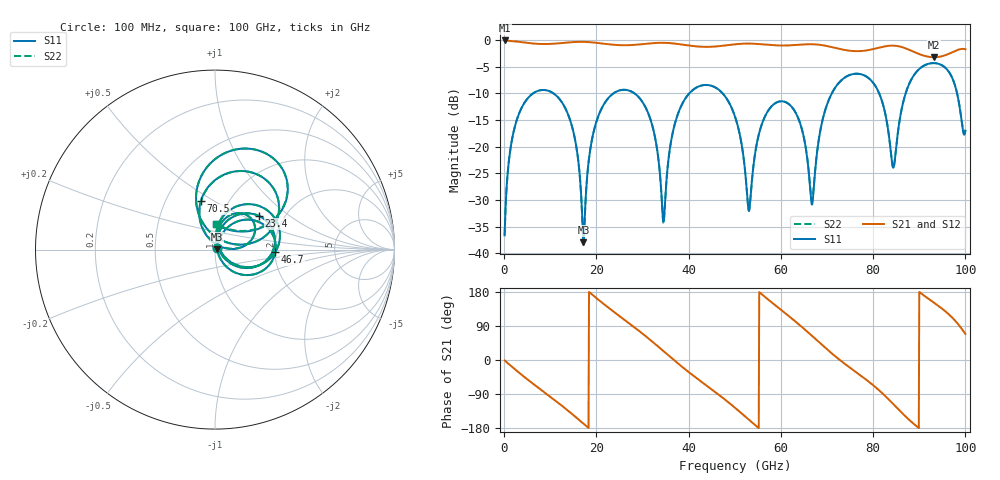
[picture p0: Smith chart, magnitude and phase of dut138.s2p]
! Touchstone file exported from HFSS 2026.1.0
!  File:  C:/ffzhzh/LocalFiles/Ansys_Project_Files/temp_train_TSV_RDL_138_1783641354_26216.aedt
!  Generated:  08:09:23 AM Jul 10, 2026
!  Design:  TSV_RDL
!  Project:  temp_train_TSV_RDL_138_1783641354_26216
! Variables:
!  h_bsmrdl = 3.93um
!  h_ox = 20um
!  h_rdl = 5um
!  h_sub = 94um
!  h_tmrdl = 3.9um
!  h_tsv = 94um
!  h_via = 3um
!  l_bsmrdl = 641.45um
!  l_sub = 3017.11um
!  l_tmrdl = 143.43um
!  m_sub = 200um
!  pitch = 43.39um
!  r_tsv = 10.84um
!  s_tmrdl = 10um
!  w_bsmrdl = 27.67um
!  w_sub = 500um
!  w_tmrdl = 12.01um
!  x_tsv_center1 = 149.435um
!  x_tsv_center2 = 818.555um
!  x_tsv_center3 = 973.995um
!  x_tsv_center4 = 1643.115um
!  x_tsv_center5 = 1798.555um
!  x_tsv_center6 = 2467.675um
# GHz S MA R 50.000000
! Terminal data exported
! Port[1] = TM_RDL1_1_T1
! Port[2] = TM_RDL5_1_T1
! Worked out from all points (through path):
!   1000 points, 100 MHz to 100 GHz, reference 50 ohm
!   highest |S21| = -0.11 dB at 100 MHz (marker M1); lowest = -3.3 dB at 93.2 GHz (marker M2)
!   group delay of S21, straight-line fit = 27.7 ps
!   lowest |S11| = -37.9 dB at 17.2 GHz (marker M3), VSWR 1.03, Z = 51.3 + j0.187 ohm
!   |S11| at or under -10 dB: 10.64 GHz to 23.75 GHz (13.11 GHz wide, 76.2 % of centre); 28.21 GHz to 40.17 GHz (11.96 GHz wide, 35 % of centre); 47.34 GHz to 71.06 GHz (23.72 GHz wide, 40.1 % of centre) (the widest 3 of 6)
!   |S22| runs from -38.7 to -4.4 dB; largest |S21 - S12| = 6.2e-12
!   S11 on the Smith chart (normalised r, x): 100 MHz: 1.03, +0.02; 23.4 GHz: 1.49, +0.62; 46.7 GHz: 2.01, -0.06; 70.5 GHz: 0.74, +0.44; 100 GHz: 0.97, +0.28
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0.1  0.01468 32.2  0.9877 -1.1  0.9877 -1.1  0.01468 32.2
! Gamma 0 0 0 0
! Port Impedance 50 0 50 0
2.5  0.1641 57.3  0.9676 -26.2  0.9676 -26.2  0.1641 57.3
8  0.338 8.2  0.9152 -78.6  0.9152 -78.6  0.338 8.2
14.2  0.1824 -46.6  0.9483 -137.2  0.9483 -137.2  0.1824 -46.9
16.8  0.029 -50.6  0.9588 -163.8  0.9588 -163.8  0.02863 -52.5
17.2  0.01267 8.3  0.9583 -167.9  0.9583 -167.9  0.01164 7.8
19.4  0.1375 72.2  0.9449 169.5  0.9449 169.5  0.1373 72.6
23.4  0.3081 37.6  0.9026 130.7  0.9026 130.7  0.308 37.8
33.4  0.07915 -42.8  0.9381 35.3  0.9381 35.3  0.07903 -42.9
34.6  0.01984 31.6  0.939 22.7  0.939 22.7  0.01946 32.0
38.4  0.2408 68.5  0.906 -16.3  0.906 -16.3  0.2408 68.7
46.7  0.3362 -2.4  0.8741 -93.2  0.8741 -93.2  0.3362 -2.2
50.1  0.188 -31.0  0.9096 -126.6  0.9096 -126.6  0.188 -30.7
53.1  0.02482 26.4  0.9231 -158.0  0.9231 -158.0  0.02524 26.6
57  0.2086 66.5  0.8999 161.9  0.8999 161.9  0.2087 66.7
63.2  0.2074 14.2  0.896 101.2  0.896 101.2  0.2076 14.8
66.7  0.02856 55.7  0.9103 64.1  0.9103 64.1  0.03102 56.3
70.5  0.281 106.4  0.8664 22.9  0.8664 22.9  0.2813 105.9
78.5  0.4541 39.9  0.7961 -52.1  0.7961 -52.1  0.4541 39.8
83.4  0.1287 12.7  0.8799 -104.3  0.8799 -104.3  0.1286 12.6
93.2  0.6058 61.0  0.6875 151.1  0.6875 151.1  0.6059 61.1
100  0.1407 88.1  0.8174 68.9  0.8174 68.9  0.1444 87.5
